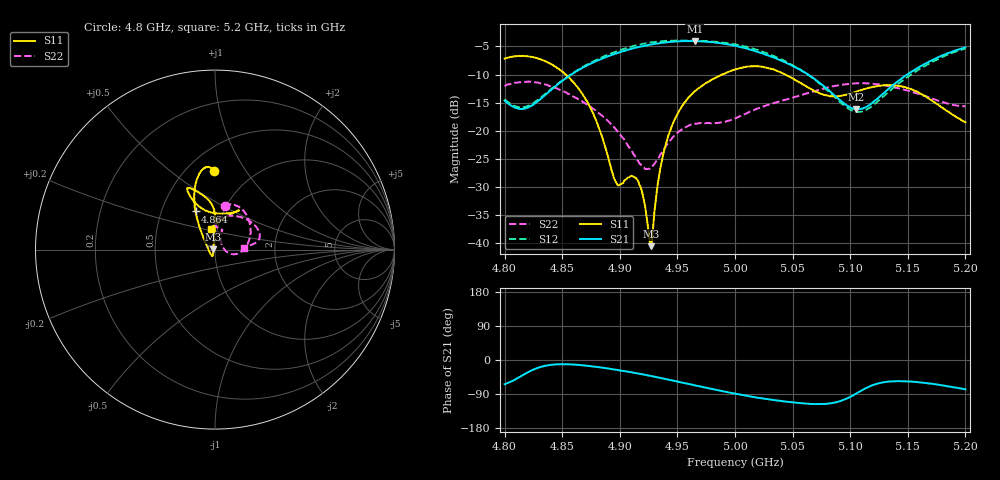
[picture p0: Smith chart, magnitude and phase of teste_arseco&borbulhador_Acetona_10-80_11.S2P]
! Network Analyzer HP8722D
! Hewlett-Packard
! Data name: Linha & Wilkinson
! Saver's name: Rodrigo Anjos
! Comments: Teste da utilização de aquisição
! continua pelo VNA HP8722D
! Time and date: 25/4/2025 15:21
!  Frequency  S11  S21  S12  S22
# HZ  S  MA R 50
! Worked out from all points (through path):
!   401 points, 4.8 GHz to 5.2 GHz, reference 50 ohm
!   highest |S21| = -4.03 dB at 4.965 GHz (marker M1); lowest = -16.2 dB at 5.105 GHz (marker M2)
!   lowest |S11| = -40.5 dB at 4.927 GHz (marker M3), VSWR 1.02, Z = 49.1 + j0.145 ohm
!   |S11| at or under -10 dB: 4.853 GHz to 4.989 GHz (135.9 MHz wide, 2.76 % of centre); 5.044 GHz to end of sweep
!   |S22| runs from -26.8 to -11.2 dB; largest |S21 - S12| = 1.2
!   S11 on the Smith chart (normalised r, x): 4.8 GHz: 0.67, +0.73; 4.864 GHz: 0.74, +0.33; 5.2 GHz: 0.93, +0.22
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4.8e9  0.4382 91.0  0.1849 -64.0  0.1898 69.4  0.2492 77.4
4.82e9  0.4577 97.3  0.1603 -32.8  0.1657 98.1  0.2724 61.8
4.843e9  0.3777 106.7  0.2437 -12.1  0.2466 118.7  0.243 37.1
4.864e9  0.2387 117.1  0.3462 -12.9  0.3492 120.9  0.1901 12.8
4.867e9  0.2158 118.7  0.3597 -13.8  0.3643 120.5  0.1835 9.3
4.88e9  0.1192 128.5  0.4187 -18.4  0.4288 118.2  0.1482 -4.2
4.897e9  0.03441 -170.9  0.4857 -25.8  0.5072 112.8  0.1017 -14.8
4.916e9  0.03554 -110.4  0.5538 -35.8  0.5803 104.0  0.05373 -0.2
4.92e9  0.02664 -115.2  0.5639 -38.1  0.594 101.7  0.04765 12.1
4.925e9  0.01244 -144.1  0.5795 -41.0  0.6053 98.8  0.04585 29.9
4.927e9  0.009393 170.9  0.5842 -42.3  0.6115 97.5  0.04704 37.6
4.934e9  0.03896 100.6  0.5993 -46.8  0.6245 93.3  0.05807 56.5
4.939e9  0.06999 94.3  0.6103 -49.7  0.6288 89.9  0.07034 63.2
4.946e9  0.1151 90.6  0.6187 -54.3  0.6333 85.7  0.08769 67.7
4.965e9  0.2238 91.3  0.6287 -66.9  0.6327 73.4  0.1155 69.6
5e9  0.3508 109.1  0.5695 -89.1  0.5873 50.8  0.1289 87.1
5.03e9  0.3591 115.2  0.4621 -104.3  0.4786 33.7  0.1707 85.0
5.067e9  0.2319 105.7  0.2991 -115.9  0.2962 23.4  0.2212 57.1
5.105e9  0.2221 66.9  0.1549 -89.0  0.1474 54.0  0.2637 25.5
5.134e9  0.2543 58.7  0.2386 -56.7  0.2244 88.5  0.2489 12.5
5.169e9  0.1911 71.5  0.4147 -62.0  0.3977 84.8  0.1964 6.9
5.2e9  0.1189 100.8  0.5511 -77.5  0.5385 70.2  0.1646 3.7
